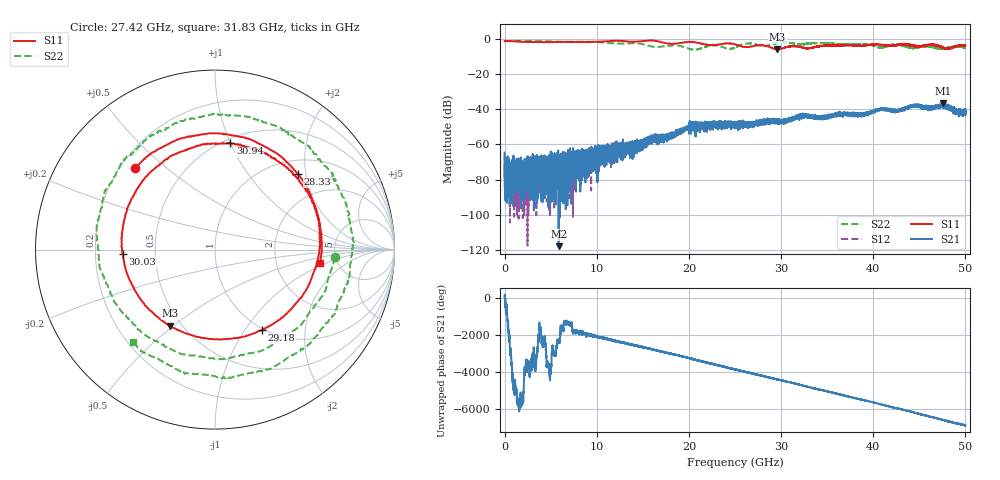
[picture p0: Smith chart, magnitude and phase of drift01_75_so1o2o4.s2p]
!Created with skrf (http://scikit-rf.org).
# Hz S RI R 50.0
!freq ReS11 ImS11 ReS21 ImS21 ReS12 ImS12 ReS22 ImS22
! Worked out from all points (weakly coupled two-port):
!   10001 points, 300 kHz to 50 GHz, reference 50 ohm
!   highest |S21| = -36.59 dB at 47.54 GHz (marker M1); lowest = -117.8 dB at 5.865 GHz (marker M2)
!   lowest |S11| = -6.2 dB at 29.61 GHz (marker M3), VSWR 2.94, Z = 21.7 - j24.3 ohm
!   |S11| at or under -10 dB: nowhere
!   |S22| runs from -6.4 to -1.4 dB; largest |S21 - S12| = 0.0032
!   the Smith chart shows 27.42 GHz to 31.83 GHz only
!   S11 on the Smith chart (normalised r, x): 27.42 GHz: 0.26, +0.40; 28.33 GHz: 1.30, +1.80; 29.18 GHz: 0.98, -1.20; 30.03 GHz: 0.32, -0.02; 30.94 GHz: 0.54, +1.00; 31.83 GHz: 3.67, -0.85
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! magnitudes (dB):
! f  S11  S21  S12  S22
! 300 kHz  -1.3  -64.7  -65.5  -2.1
! 265.3 MHz  -1.4  -88.3  -69.5  -1.4
! 695.3 MHz  -1.5  -82.9  -71.0  -1.5
! 5.865 GHz  -1.9  -117.8  -69.4  -1.8
! 8.335 GHz  -2.0  -73.7  -71.8  -1.8
! 16.67 GHz  -1.6  -56.6  -55.4  -4.8
! 18.62 GHz  -2.9  -53.5  -53.9  -3.9
! 20.46 GHz  -2.0  -49.9  -49.8  -6.2
! 22.62 GHz  -3.8  -48.0  -49.0  -3.8
! 25 GHz  -3.3  -48.5  -49.1  -5.0
! 27.42 GHz  -3.9  -47.0  -47.9  -3.5
! 28.33 GHz  -4.1  -46.4  -47.2  -4.4
! 29.18 GHz  -5.7  -46.0  -46.4  -3.0
! 29.61 GHz  -6.2  -48.4  -46.5  -2.6
! 30.03 GHz  -5.8  -47.8  -47.3  -2.3
! 30.94 GHz  -4.5  -46.8  -46.4  -2.5
! 31.83 GHz  -4.6  -44.6  -45.1  -3.3
! 33.34 GHz  -5.2  -44.9  -44.4  -2.7
! 41.67 GHz  -4.3  -40.2  -40.7  -4.0
! 47.54 GHz  -4.9  -36.6  -37.7  -5.8
! 49.47 GHz  -3.9  -41.2  -42.0  -4.6
! 50 GHz  -3.8  -40.2  -41.7  -5.3
